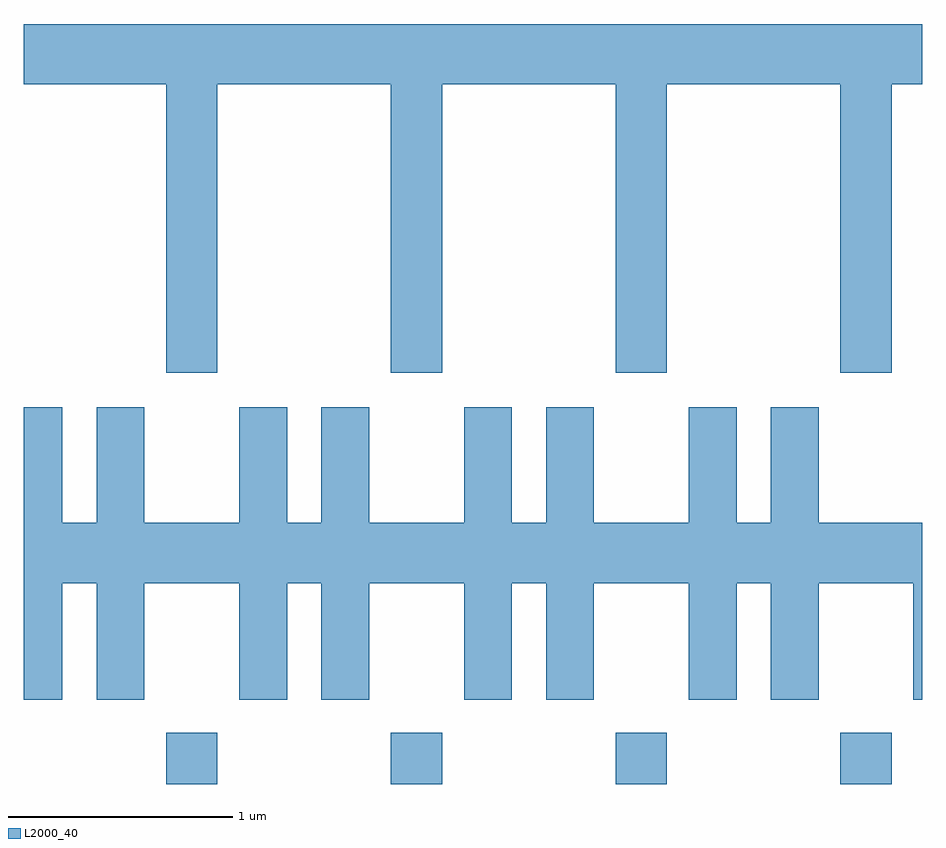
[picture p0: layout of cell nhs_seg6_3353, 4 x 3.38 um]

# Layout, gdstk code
import gdstk
lib = gdstk.Library(unit=1e-6, precision=1e-09)
def R(c, l, rs):  # rectangles x0, y0, x1, y1
    for r in rs: c.add(gdstk.rectangle(r[:2], r[2:], *l))
def A(c, l, x, y, w, h, nx, ny, dx, dy):  # array of equal rectangles
    R(c, l, [(x+i*dx, y+j*dy, x+i*dx+w, y+j*dy+h) for i in range(nx) for j in range(ny)])
def P(c, l, *ps):  # polygons
    for p in ps: c.add(gdstk.Polygon(p, *l))
L2000_40 = (2000, 40)

nhs_seg6_3353 = lib.new_cell('nhs_seg6_3353')
A(nhs_seg6_3353, L2000_40, 286.246, 1640.162, 0.228, 0.227, 4, 1, 1, 0)
P(nhs_seg6_3353, L2000_40, [(286.474,1643.276),(287.246,1643.276),(287.246,1641.991),(287.474,1641.991),(287.474,1643.276),(288.246,1643.276),(288.246,1641.991),(288.474,1641.991),(288.474,1643.276),(289.246,1643.276),(289.246,1641.991),(289.474,1641.991),(289.474,1643.276),(289.611,1643.276),(289.611,1643.544),(285.611,1643.544),(285.611,1643.276),(286.246,1643.276),(286.246,1641.991),(286.474,1641.991)],
  [(285.784,1641.056),(285.936,1641.056),(285.936,1640.536),(286.149,1640.536),(286.149,1641.056),(286.571,1641.056),(286.571,1640.536),(286.784,1640.536),(286.784,1641.056),(286.936,1641.056),(286.936,1640.536),(287.149,1640.536),(287.149,1641.056),(287.571,1641.056),(287.571,1640.536),(287.784,1640.536),(287.784,1641.056),(287.936,1641.056),(287.936,1640.536),(288.149,1640.536),(288.149,1641.056),(288.571,1641.056),(288.571,1640.536),(288.784,1640.536),(288.784,1641.056),(288.936,1641.056),(288.936,1640.536),(289.149,1640.536),(289.149,1641.056),(289.571,1641.056),(289.571,1640.536),(289.611,1640.536),(289.611,1641.324),(289.149,1641.324),(289.149,1641.839),(288.936,1641.839),(288.936,1641.324),(288.784,1641.324),(288.784,1641.839),(288.571,1641.839),(288.571,1641.324),(288.149,1641.324),(288.149,1641.839),(287.936,1641.839),(287.936,1641.324),(287.784,1641.324),(287.784,1641.839),(287.571,1641.839),(287.571,1641.324),(287.149,1641.324),(287.149,1641.839),(286.936,1641.839),(286.936,1641.324),(286.784,1641.324),(286.784,1641.839),(286.571,1641.839),(286.571,1641.324),(286.149,1641.324),(286.149,1641.839),(285.936,1641.839),(285.936,1641.324),(285.784,1641.324),(285.784,1641.839),(285.611,1641.839),(285.611,1640.536),(285.784,1640.536)])

lib.write_gds('nhs_seg6_3353.gds')
